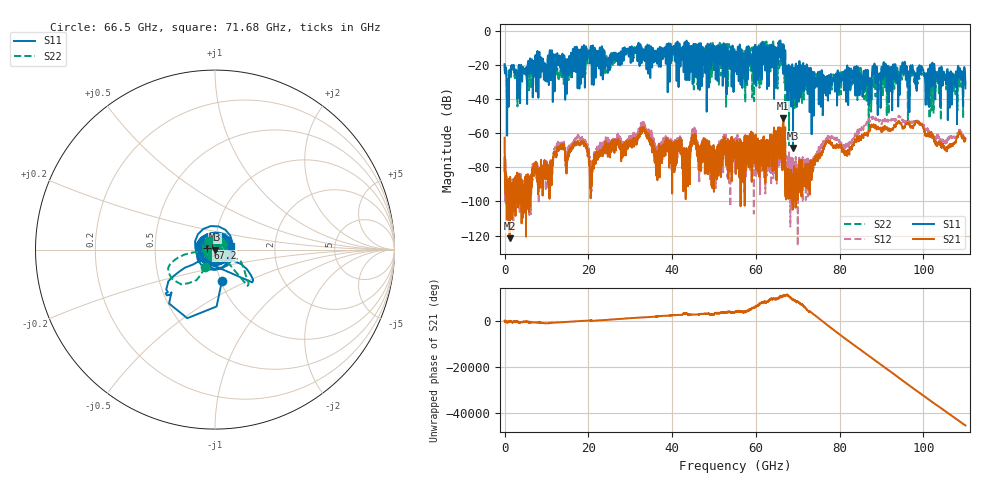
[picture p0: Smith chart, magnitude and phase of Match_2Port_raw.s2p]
#  HZ  S  RI  R  50.00
! Rohde & Schwarz ZVA67 4Ports - Version 4.11 - 1305.7002k04 SN: 101032
! Date: 2026-02-18 15:41:00
! Measurements: S11 S21 S12 S22
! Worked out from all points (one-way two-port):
!   5500 points, 20 MHz to 110 GHz, reference 50 ohm
!   highest |S21| = -51.00 dB at 66.54 GHz (marker M1); lowest = -121.6 dB at 1.22 GHz (marker M2)
!   lowest |S11| = -68.6 dB at 68.86 GHz (marker M3), VSWR 1.00, Z = 50 + j0.0174 ohm
!   |S11| at or under -10 dB: start of sweep to 16.69 GHz; 23.3 GHz to 28.2 GHz (4.905 GHz wide, 19.1 % of centre); 66.72 GHz to end of sweep (the widest 3 of 83)
!   |S22| runs from -66.9 to -5.9 dB; largest |S21 - S12| = 0.0055
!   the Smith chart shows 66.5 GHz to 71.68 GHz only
!   S11 on the Smith chart (normalised r, x): 66.5 GHz: 1.01, -0.37; 67.2 GHz: 0.92, +0.02; 71.68 GHz: 1.20, +0.05
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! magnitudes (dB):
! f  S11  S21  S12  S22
! 20 MHz  -19.4  -62.6  -74.2  -19.3
! 1.22 GHz  -24.7  -121.6  -109.0  -22.5
! 10.86 GHz  -11.2  -92.6  -84.6  -17.4
! 12.76 GHz  -18.8  -68.6  -66.3  -24.3
! 18.36 GHz  -13.8  -65.4  -63.1  -20.3
! 20.78 GHz  -18.6  -89.7  -86.8  -12.9
! 33.04 GHz  -15.2  -58.0  -54.8  -11.9
! 36.68 GHz  -11.1  -71.3  -74.5  -14.8
! 41.76 GHz  -7.2  -65.1  -62.6  -16.0
! 43.48 GHz  -5.8  -81.4  -73.3  -28.7
! 45.2 GHz  -8.4  -65.1  -58.8  -22.9
! 46.62 GHz  -34.5  -80.9  -73.4  -10.7
! 55.02 GHz  -18.4  -72.9  -73.1  -21.8
! 66.5 GHz  -15.0  -61.9  -64.7  -19.0
! 66.54 GHz  -7.7  -51.0  -63.7  -15.5
! 67.2 GHz  -27.2  -98.8  -76.8  -24.7
! 68.86 GHz  -68.6  -86.4  -83.7  -27.5
! 71.68 GHz  -20.6  -83.7  -79.9  -23.7
! 73.34 GHz  -33.8  -79.8  -81.2  -29.0
! 77.2 GHz  -40.8  -64.1  -61.4  -32.5
! 91.68 GHz  -42.0  -57.4  -52.1  -38.4
! 110 GHz  -33.6  -63.1  -63.4  -31.6
